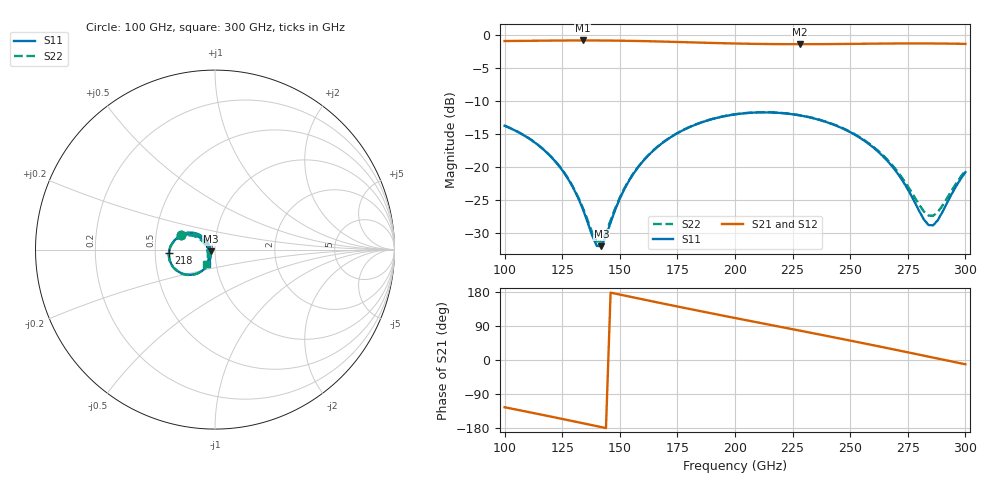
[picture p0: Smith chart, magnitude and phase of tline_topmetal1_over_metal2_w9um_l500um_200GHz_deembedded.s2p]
! Created with skrf 2.2.0 (http://scikit-rf.org).
# GHz S DB R 50.0
! Port[1] = P1
! Port[2] = P2
!freq dBS11 angS11 dBS21 angS21 dBS12 angS12 dBS22 angS22
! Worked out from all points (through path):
!   101 points, 100 GHz to 300 GHz, reference 50 ohm
!   highest |S21| = -0.84 dB at 134 GHz (marker M1); lowest = -1.4 dB at 228 GHz (marker M2)
!   group delay of S21, straight-line fit = 3.41 ps
!   lowest |S11| = -32.0 dB at 142 GHz (marker M3), VSWR 1.05, Z = 47.7 - j0.844 ohm
!   |S11| at or under -10 dB: start of sweep to end of sweep
!   |S22| runs from -31.3 to -11.7 dB; largest |S21 - S12| = 9.9e-14
!   S11 on the Smith chart (normalised r, x): 100 GHz: 0.68, +0.12; 218 GHz: 0.59, -0.03; 300 GHz: 0.90, -0.14
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100  -13.75 155.8  -0.92 -124.6  -0.92 -124.6  -13.74 156.6
110  -15.54 145.4  -0.89 -136.9  -0.89 -136.9  -15.52 146.4
120  -18.39 136.5  -0.86 -149.3  -0.86 -149.3  -18.35 137.9
128  -22.05 133.1  -0.84 -159.3  -0.84 -159.3  -21.97 135.0
134  -26.40 138.4  -0.84 -166.9  -0.84 -166.9  -26.19 141.1
140  -31.93 176.2  -0.84 -174.6  -0.84 -174.6  -31.24 177.8
142  -31.97 -159.5  -0.85 -177.1  -0.85 -177.1  -31.27 -159.9
150  -24.78 -117.4  -0.87 172.7  -0.87 172.7  -24.62 -118.7
154  -22.07 -115.3  -0.89 167.6  -0.89 167.6  -21.98 -116.1
160  -19.14 -117.3  -0.93 160.0  -0.93 160.0  -19.09 -117.7
168  -16.49 -123.5  -1.00 149.9  -1.00 149.9  -16.46 -123.6
184  -13.42 -139.5  -1.16 130.1  -1.16 130.1  -13.40 -139.1
200  -12.03 -156.4  -1.30 110.9  -1.30 110.9  -12.01 -155.7
218  -11.78 -175.3  -1.39 89.5  -1.39 89.5  -11.75 -174.3
228  -12.17 174.3  -1.40 77.7  -1.40 77.7  -12.14 175.6
234  -12.62 168.2  -1.40 70.5  -1.40 70.5  -12.58 169.7
254  -15.52 149.4  -1.34 46.4  -1.34 46.4  -15.45 151.7
268  -19.80 141.4  -1.30 29.0  -1.30 29.0  -19.59 145.1
284  -28.78 -178.0  -1.29 8.9  -1.29 8.9  -27.34 -176.0
286  -28.82 -162.1  -1.30 6.4  -1.30 6.4  -27.37 -162.9
288  -28.06 -147.7  -1.30 3.8  -1.30 3.8  -26.82 -150.7
300  -20.77 -119.8  -1.35 -11.3  -1.35 -11.3  -20.52 -122.8
